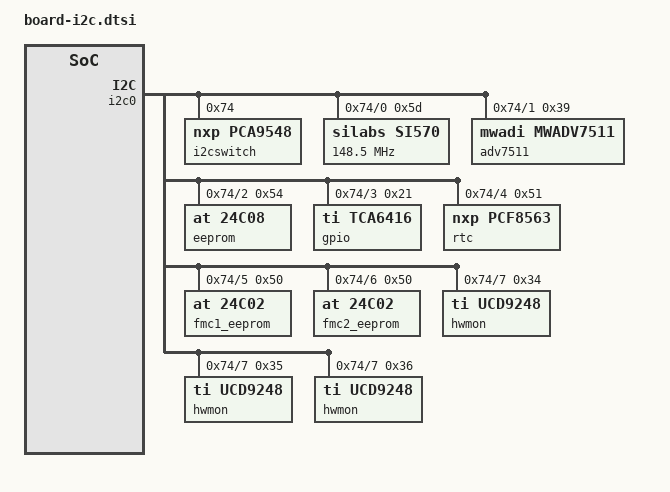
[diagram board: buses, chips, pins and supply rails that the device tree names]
&i2c0{
    i2cswitch@74 {
		compatible = "nxp,pca9548";
		#address-cells = <1>;
		#size-cells = <0>;
		reg = <0x74>;

		i2c@0 {
			#address-cells = <1>;
			#size-cells = <0>;
			reg = <0>;
			si570: clock-generator@5d {
				#clock-cells = <0>;
				compatible = "silabs,si570";
				temperature-stability = <50>;
				reg = <0x5d>;
				factory-fout = <156250000>;
				clock-frequency = <148500000>;
			};
		};
        
        i2c@1 {
			#address-cells = <1>;
			#size-cells = <0>;
			reg = <1>;
			
			adv7511: adv7511@39 {
				compatible = "mwadi,mwadv7511";
				reg = <0x39>;

				adi,input-style = <0x02>;
				adi,input-id = <0x01>;
				adi,input-color-depth = <0x3>;
				adi,sync-pulse = <0x03>;
				adi,bit-justification = <0x01>;
				adi,up-conversion = <0x00>;
				adi,timing-generation-sequence = <0x00>;
				adi,vsync-polarity = <0x02>;
				adi,hsync-polarity = <0x02>;
				adi,tdms-clock-inversion;
				adi,clock-delay = <0x03>;
			};
		};

		i2c@2 {
			#address-cells = <1>;
			#size-cells = <0>;
			reg = <2>;
			eeprom@54 {
				compatible = "at,24c08";
				reg = <0x54>;
			};
		};

		i2c@3 {
			#address-cells = <1>;
			#size-cells = <0>;
			reg = <3>;
			gpio@21 {
				compatible = "ti,tca6416";
				reg = <0x21>;
				gpio-controller;
				#gpio-cells = <2>;
			};
		};

		i2c@4 {
			#address-cells = <1>;
			#size-cells = <0>;
			reg = <4>;
			rtc@51 {
				compatible = "nxp,pcf8563";
				reg = <0x51>;
			};
		};

		i2c@5 {
			#address-cells = <1>;
			#size-cells = <0>;
			reg = <5>;
			fmc1_eeprom: eeprom@50 {
				compatible = "at,24c02";
				reg = <0x50>;
			};
		};

		i2c@6 {
			#address-cells = <1>;
			#size-cells = <0>;
			reg = <6>;
			fmc2_eeprom: eeprom@50 {
				compatible = "at,24c02";
				reg = <0x50>;
			};
		};

		i2c@7 {
			#address-cells = <1>;
			#size-cells = <0>;
			reg = <7>;
			hwmon@52 {
				compatible = "ti,ucd9248";
				reg = <52>;
			};
			hwmon@53 {
				compatible = "ti,ucd9248";
				reg = <53>;
			};
			hwmon@54 {
				compatible = "ti,ucd9248";
				reg = <54>;
			};
		};
	};
};
